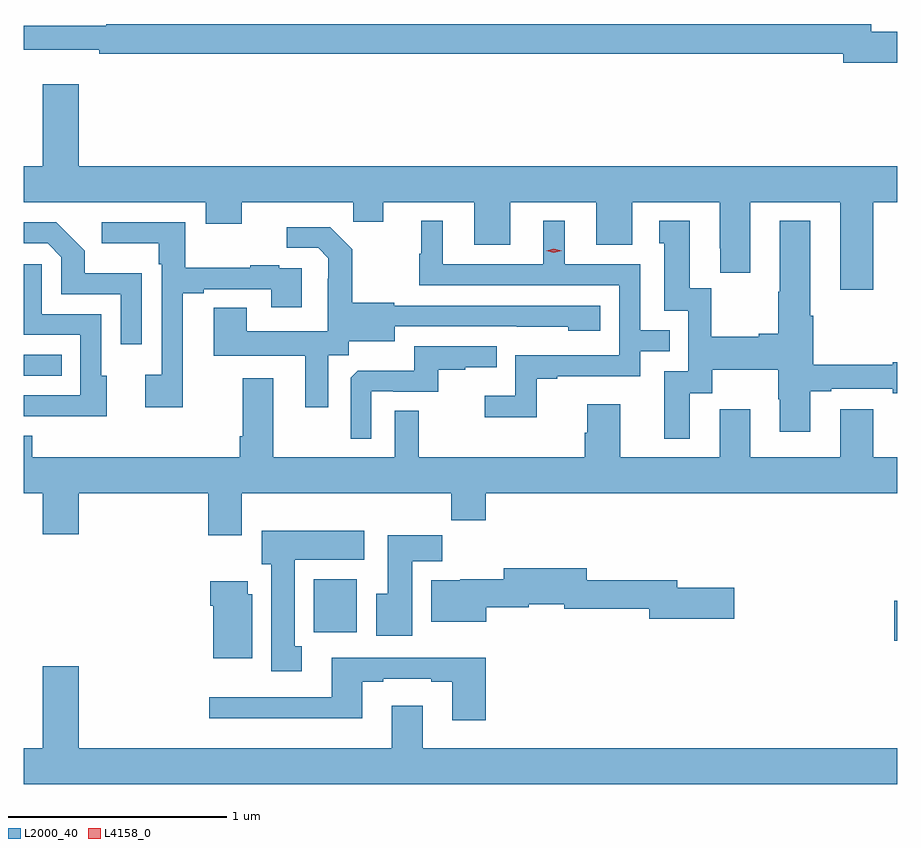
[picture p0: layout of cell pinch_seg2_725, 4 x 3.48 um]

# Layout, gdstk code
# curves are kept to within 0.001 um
import gdstk
lib = gdstk.Library(unit=1e-6, precision=1e-09)
def R(c, l, rs):  # rectangles x0, y0, x1, y1
    for r in rs: c.add(gdstk.rectangle(r[:2], r[2:], *l))
def P(c, l, *ps):  # polygons
    for p in ps: c.add(gdstk.Polygon(p, *l))
L2000_40 = (2000, 40)
L4158_0 = (4158, 0)

pinch_seg2_725 = lib.new_cell('pinch_seg2_725')
R(pinch_seg2_725, L2000_40, [(840.234,629.645,840.249,629.828), (837.578,629.684,837.775,629.926), (836.249,630.858,836.423,630.954)])
P(pinch_seg2_725, L2000_40, [(840.249,632.432),(840.13,632.432),(840.13,632.468),(836.626,632.468),(836.626,632.461),(836.249,632.461),(836.249,632.351),(836.596,632.351),(836.596,632.332),(840.002,632.332),(840.002,632.29),(840.249,632.29)],
  [(840.14,631.652),(840.249,631.652),(840.249,631.816),(836.5,631.816),(836.5,632.191),(836.336,632.191),(836.336,631.816),(836.249,631.816),(836.249,631.652),(837.083,631.652),(837.083,631.553),(837.247,631.553),(837.247,631.652),(837.757,631.652),(837.757,631.562),(837.895,631.562),(837.895,631.652),(838.313,631.652),(838.313,631.458),(838.477,631.458),(838.477,631.652),(838.871,631.652),(838.871,631.458),(839.035,631.458),(839.035,631.652),(839.435,631.652),(839.435,631.441),(839.438,631.441),(839.438,631.329),(839.575,631.329),(839.575,631.652),(839.987,631.652),(839.987,631.251),(840.14,631.251)],
  [(839.299,630.778),(839.401,630.778),(839.401,630.884),(839.704,630.884),(839.704,630.75),(839.711,630.75),(839.711,630.6),(839.851,630.6),(839.851,630.786),(839.947,630.786),(839.947,630.798),(840.228,630.798),(840.228,630.778),(840.249,630.778),(840.249,630.92),(840.228,630.92),(840.228,630.907),(839.864,630.907),(839.864,631.132),(839.851,631.132),(839.851,631.567),(839.711,631.567),(839.711,631.241),(839.704,631.241),(839.704,631.049),(839.615,631.049),(839.615,631.036),(839.397,631.036),(839.397,631.259),(839.299,631.259),(839.299,631.567),(839.159,631.567),(839.159,631.464),(839.183,631.464),(839.183,631.155),(839.292,631.155),(839.292,630.879),(839.183,630.879),(839.183,630.57),(839.299,630.57)],
  [(838.599,630.843),(838.693,630.843),(838.693,630.855),(839.073,630.855),(839.073,630.969),(839.207,630.969),(839.207,631.065),(839.073,631.065),(839.073,631.368),(838.726,631.368),(838.726,631.567),(838.628,631.567),(838.628,631.368),(838.168,631.368),(838.168,631.567),(838.07,631.567),(838.07,631.416),(838.059,631.416),(838.059,631.272),(838.977,631.272),(838.977,630.951),(838.5,630.951),(838.5,630.766),(838.359,630.766),(838.359,630.668),(838.599,630.668)],
  [(836.977,631.236),(837.073,631.236),(837.073,631.254),(837.383,631.254),(837.383,631.17),(837.523,631.17),(837.523,631.35),(837.419,631.35),(837.419,631.363),(837.287,631.363),(837.287,631.352),(836.989,631.352),(836.989,631.56),(836.607,631.56),(836.607,631.463),(836.868,631.463),(836.868,631.367),(836.88,631.367),(836.88,630.862),(836.805,630.862),(836.805,630.714),(836.977,630.714)],
  [(836.79,631.327),(836.529,631.327),(836.529,631.43),(836.398,631.56),(836.249,631.56),(836.249,631.464),(836.358,631.464),(836.421,631.401),(836.421,631.23),(836.694,631.23),(836.694,631.002),(836.79,631.002)],
  [(837.643,630.952),(837.738,630.952),(837.738,631.016),(837.949,631.016),(837.949,631.083),(838.743,631.082),(838.743,631.064),(838.888,631.064),(838.888,631.179),(837.945,631.179),(837.945,631.192),(837.753,631.192),(837.753,631.437),(837.653,631.537),(837.453,631.537),(837.453,631.443),(837.597,631.443),(837.644,631.396),(837.644,631.301),(837.642,631.301),(837.642,631.06),(837.271,631.06),(837.271,631.169),(837.119,631.169),(837.119,630.95),(837.539,630.95),(837.539,630.714),(837.643,630.714)],
  [(836.629,630.858),(836.604,630.858),(836.604,631.14),(836.331,631.14),(836.331,631.369),(836.249,631.369),(836.249,631.044),(836.508,631.044),(836.508,630.768),(836.249,630.768),(836.249,630.672),(836.411,630.672),(836.411,630.671),(836.629,630.671)],
  [(837.84,630.786),(837.94,630.786),(837.94,630.783),(838.148,630.783),(838.148,630.885),(838.271,630.885),(838.271,630.896),(838.415,630.896),(838.415,630.993),(838.038,630.993),(838.038,630.881),(837.779,630.881),(837.747,630.849),(837.747,630.569),(837.84,630.569)],
  [(837.247,630.32),(838.207,630.32),(838.207,630.196),(838.364,630.196),(838.364,630.32),(840.249,630.32),(840.249,630.484),(840.14,630.484),(840.14,630.703),(839.987,630.703),(839.987,630.484),(839.575,630.484),(839.575,630.703),(839.435,630.703),(839.435,630.484),(838.981,630.484),(838.981,630.727),(838.829,630.727),(838.829,630.597),(838.817,630.597),(838.817,630.484),(838.057,630.484),(838.057,630.698),(837.948,630.698),(837.948,630.484),(837.391,630.484),(837.391,630.847),(837.251,630.847),(837.251,630.58),(837.239,630.58),(837.239,630.484),(836.287,630.484),(836.287,630.583),(836.249,630.583),(836.249,630.32),(836.336,630.32),(836.336,630.132),(836.5,630.132),(836.5,630.32),(837.095,630.32),(837.095,630.126),(837.247,630.126)],
  [(837.523,629.618),(837.49,629.618),(837.49,630.014),(837.808,630.014),(837.808,630.148),(837.338,630.148),(837.338,629.994),(837.383,629.994),(837.383,629.505),(837.523,629.505)],
  [(838.027,630.008),(838.166,630.008),(838.166,630.127),(837.917,630.127),(837.917,629.86),(837.863,629.86),(837.863,629.667),(838.027,629.667)],
  [(838.366,629.798),(838.562,629.798),(838.562,629.81),(838.724,629.81),(838.724,629.791),(839.114,629.791),(839.114,629.744),(839.503,629.744),(839.503,629.886),(839.242,629.886),(839.242,629.92),(838.828,629.92),(838.828,629.977),(838.448,629.977),(838.448,629.926),(838.248,629.926),(838.248,629.92),(838.115,629.92),(838.115,629.732),(838.366,629.732)],
  [(837.295,629.856),(837.274,629.856),(837.274,629.917),(837.104,629.917),(837.104,629.804),(837.116,629.804),(837.116,629.564),(837.295,629.564)],
  [(838.364,629.566),(838.123,629.566),(838.123,629.565),(837.659,629.565),(837.659,629.385),(837.099,629.385),(837.099,629.288),(837.799,629.288),(837.799,629.457),(837.895,629.457),(837.895,629.469),(838.115,629.469),(838.115,629.457),(838.211,629.457),(838.211,629.28),(838.364,629.28)],
  [(840.249,629.152),(838.075,629.152),(838.075,629.347),(837.935,629.347),(837.935,629.152),(836.5,629.152),(836.5,629.527),(836.336,629.527),(836.336,629.152),(836.249,629.152),(836.249,628.988),(840.249,628.988)])
P(pinch_seg2_725, L4158_0, [(838.677,631.42),(838.642,631.43),(838.641,631.43),(838.642,631.43),(838.677,631.439),(838.712,631.429),(838.713,631.429),(838.712,631.429)])

lib.write_gds('pinch_seg2_725.gds')
